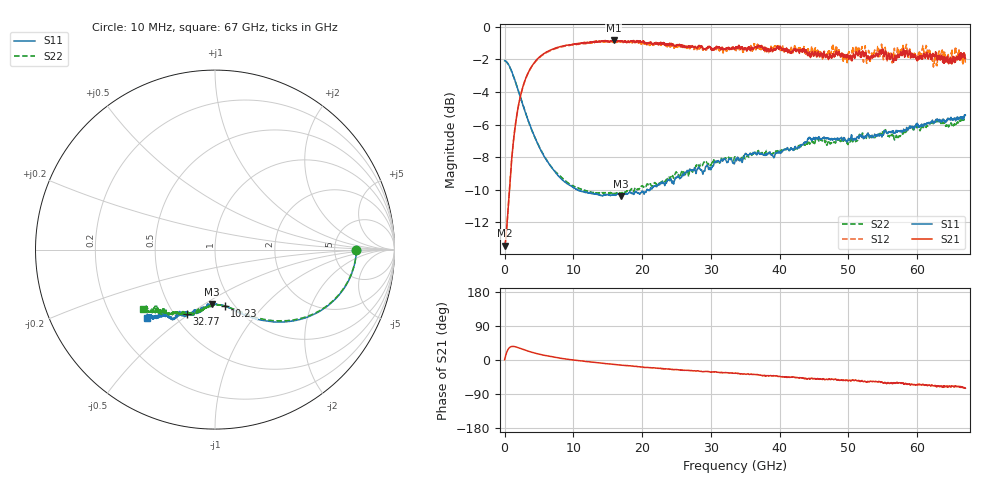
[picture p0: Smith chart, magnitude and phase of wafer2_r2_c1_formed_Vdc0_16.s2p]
!Keysight Technologies,N5227A,US51270248,A.10.65.08
!Date: Tuesday, June 11, 2024 07:09:37
!Correction: S11(Full 2 Port(1,4))
!S41(Full 2 Port(1,4))
!S14(Full 2 Port(1,4))
!S44(Full 2 Port(1,4))
!S2P File: Measurements: S11, S41, S14, S44:
# Hz S  dB  R 50
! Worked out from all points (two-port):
!   3201 points, 10 MHz to 67 GHz, reference 50 ohm
!   highest |S21| = -0.84 dB at 15.88 GHz (marker M1); lowest = -13.4 dB at 10 MHz (marker M2)
!   |S21| within 3 dB of the highest: 2.562 GHz to end of sweep
!   lowest |S11| = -10.4 dB at 16.97 GHz (marker M3), VSWR 1.87, Z = 40.2 - j26.8 ohm
!   |S11| at or under -10 dB: 10.59363 GHz to 10.61217 GHz (18.54 MHz wide, 0.175 % of centre); 10.66 GHz to 20.68 GHz (10.02 GHz wide, 64 % of centre); 20.77 GHz to 21.11 GHz (344.5 MHz wide, 1.65 % of centre)
!   |S22| runs from -10.3 to -2.1 dB; largest |S21 - S12| = 0.094
!   S11 on the Smith chart (normalised r, x): 10 MHz: 8.40, -0.15; 10.23 GHz: 0.90, -0.63; 32.77 GHz: 0.58, -0.49; 67 GHz: 0.35, -0.37
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1e7  -2.08 -0.2  -13.43 0.7  -13.46 0.8  -2.08 -0.2
1.433538e9  -3.19 -28.0  -6.50 35.5  -6.49 35.3  -3.20 -27.6
2.961747e9  -5.17 -47.0  -3.30 26.3  -3.30 26.2  -5.17 -46.1
5.808822e9  -7.99 -65.7  -1.62 12.2  -1.65 12.1  -7.95 -64.0
1.022598e10  -9.91 -80.4  -1.05 -0.4  -1.10 -0.5  -9.82 -78.6
1.118896e10  -10.09 -82.4  -1.00 -2.4  -1.04 -2.5  -9.95 -80.9
1.587826e10  -10.33 -92.1  -0.84 -11.5  -0.91 -11.2  -10.23 -91.1
1.696684e10  -10.38 -93.5  -0.85 -13.5  -0.96 -13.5  -10.22 -92.3
2.234698e10  -9.68 -99.3  -1.05 -21.6  -1.05 -21.3  -9.72 -100.1
3.27723e10  -8.13 -113.8  -1.39 -34.3  -1.37 -33.0  -8.08 -115.7
3.3505e10  -8.21 -112.7  -1.33 -34.6  -1.42 -34.7  -7.98 -116.6
4.468396e10  -6.89 -122.7  -1.60 -48.9  -1.30 -48.1  -7.03 -125.8
5.012689e10  -6.96 -126.7  -1.89 -53.7  -1.56 -52.9  -7.05 -130.1
5.173884e10  -6.68 -127.4  -1.77 -56.8  -1.83 -54.5  -6.76 -131.1
5.297397e10  -6.65 -129.5  -1.90 -57.6  -1.50 -56.9  -6.67 -133.9
5.460685e10  -6.66 -129.5  -1.44 -58.0  -1.81 -56.6  -6.56 -133.1
5.584198e10  -6.45 -129.3  -1.69 -60.2  -1.80 -60.2  -6.71 -135.2
5.730738e10  -6.39 -130.0  -1.89 -60.6  -1.66 -60.9  -6.71 -133.6
6.153613e10  -5.91 -131.6  -1.96 -67.4  -1.68 -68.0  -6.08 -136.3
6.264565e10  -5.75 -131.5  -1.62 -67.3  -1.91 -68.1  -5.82 -137.8
6.375517e10  -5.71 -133.9  -1.85 -70.6  -1.64 -70.2  -5.88 -140.1
6.7e10  -5.41 -134.8  -1.94 -74.2  -2.20 -74.9  -5.67 -140.2
